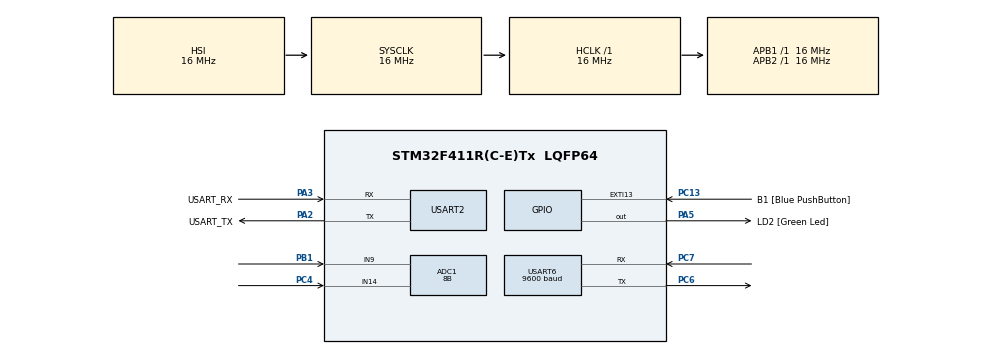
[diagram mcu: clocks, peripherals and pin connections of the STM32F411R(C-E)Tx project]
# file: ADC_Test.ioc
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ADC1.Channel-0\#ChannelRegularConversion=ADC_CHANNEL_9
ADC1.NbrOfConversion=1
ADC1.NbrOfConversionFlag=1
ADC1.Rank-0\#ChannelRegularConversion=1
ADC1.Resolution=ADC_RESOLUTION_8B
ADC1.SamplingTime-0\#ChannelRegularConversion=ADC_SAMPLETIME_15CYCLES
ADC1.ScanConvMode=ENABLE
ADC1.master=1
Mcu.Family=STM32F4
Mcu.Name=STM32F411R(C-E)Tx
Mcu.Package=LQFP64
NVIC.PriorityGroup=NVIC_PRIORITYGROUP_0
NVIC.USART6_IRQn=true\:0\:0\:false\:false\:true\:true\:true\:true
PA13.GPIO_Label=TMS
PA13.Mode=Serial_Wire
PA13.Signal=SYS_JTMS-SWDIO
PA14.GPIO_Label=TCK
PA14.Mode=Serial_Wire
PA14.Signal=SYS_JTCK-SWCLK
PA2.GPIO_Label=USART_TX
PA2.Mode=Asynchronous
PA2.Signal=USART2_TX
PA3.GPIO_Label=USART_RX
PA3.Mode=Asynchronous
PA3.Signal=USART2_RX
PA5.GPIO_Label=LD2 [Green Led]
PA5.Signal=GPIO_Output
PB1.Signal=ADCx_IN9
PB3.GPIO_Label=SWO
PB3.Signal=SYS_JTDO-SWO
PC13-ANTI_TAMP.GPIO_Label=B1 [Blue PushButton]
PC13-ANTI_TAMP.GPIO_ModeDefaultEXTI=GPIO_MODE_IT_FALLING
PC13-ANTI_TAMP.Signal=GPXTI13
PC14-OSC32_IN.Mode=LSE-External-Oscillator
PC14-OSC32_IN.Signal=RCC_OSC32_IN
PC15-OSC32_OUT.Mode=LSE-External-Oscillator
PC15-OSC32_OUT.Signal=RCC_OSC32_OUT
PC4.Signal=ADCx_IN14
PC6.Mode=Asynchronous
PC6.Signal=USART6_TX
PC7.Mode=Asynchronous
PC7.Signal=USART6_RX
PH0\ -\ OSC_IN.Mode=HSE-External-Clock-Source
PH0\ -\ OSC_IN.Signal=RCC_OSC_IN
PH1\ -\ OSC_OUT.Mode=HSE-External-Clock-Source
PH1\ -\ OSC_OUT.Signal=RCC_OSC_OUT
ProjectManager.HeapSize=0x200
ProjectManager.StackSize=0x400
ProjectManager.TargetToolchain=STM32CubeIDE
RCC.48MHZClocksFreq_Value=84000000
RCC.AHBFreq_Value=16000000
RCC.APB1Freq_Value=16000000
RCC.APB1TimFreq_Value=16000000
RCC.APB2Freq_Value=16000000
RCC.APB2TimFreq_Value=16000000
RCC.CortexFreq_Value=16000000
RCC.FLatency-AdvancedSettings=FLASH_LATENCY_0
RCC.HCLKFreq_Value=16000000
RCC.HSE_VALUE=8000000
RCC.HSI_VALUE=16000000
RCC.PLLN=336
RCC.PLLP=RCC_PLLP_DIV4
RCC.SYSCLKFreq_VALUE=16000000
RCC.VCOOutputFreq_Value=336000000
SH.ADCx_IN14.0=ADC1_IN14,IN14
SH.ADCx_IN9.0=ADC1_IN9,IN9
USART2.VirtualMode=VM_ASYNC
USART6.BaudRate=9600
USART6.VirtualMode=VM_ASYNC
board=NUCLEO-F411RE

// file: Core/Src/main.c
/* USER CODE BEGIN Header */
/**
  ******************************************************************************
  * @file           : main.c
  * @brief          : Main program body
  ******************************************************************************
  * @attention
  *
  * Copyright (c) 2022 STMicroelectronics.
  * All rights reserved.
  *
  * This software is licensed under terms that can be found in the LICENSE file
  * in the root directory of this software component.
  * If no LICENSE file comes with this software, it is provided AS-IS.
  *
  ******************************************************************************
  */
/* USER CODE END Header */
#include "main.h"

/* USER CODE BEGIN Includes */
#include <string.h>
#include <stdio.h>
/* USER CODE END Includes */

/* USER CODE BEGIN PD */
uint8_t msg_buffer[64] = {0}; // array for messages to Host Computer
/* USER CODE END PD */

ADC_HandleTypeDef hadc1;

UART_HandleTypeDef huart2;
UART_HandleTypeDef huart6;

void SystemClock_Config(void);
static void MX_GPIO_Init(void);
static void MX_USART2_UART_Init(void);
static void MX_ADC1_Init(void);
static void MX_USART6_UART_Init(void);
/* USER CODE BEGIN PFP */
static void ADC_Select_CH(int CH);
/* USER CODE END PFP */

/* USER CODE BEGIN 0 */
void ADC_Select_CH(int CH)
{
    ADC_ChannelConfTypeDef sConfig = {0};
    switch(CH)
    {
        case 0:
            sConfig.Channel = ADC_CHANNEL_0;
            sConfig.Rank = 1;
            if (HAL_ADC_ConfigChannel(&hadc1, &sConfig) != HAL_OK)
            {
                Error_Handler();
            }
            break;

        case 1:
            sConfig.Channel = ADC_CHANNEL_1;
            sConfig.Rank = 1;
            if (HAL_ADC_ConfigChannel(&hadc1, &sConfig) != HAL_OK)
            {
                Error_Handler();
            }
            break;
        case 2:
            sConfig.Channel = ADC_CHANNEL_2;
            sConfig.Rank = 1;
            if (HAL_ADC_ConfigChannel(&hadc1, &sConfig) != HAL_OK)
            {
                Error_Handler();
            }
            break;
        case 3:
            sConfig.Channel = ADC_CHANNEL_3;
            sConfig.Rank = 1;
            if (HAL_ADC_ConfigChannel(&hadc1, &sConfig) != HAL_OK)
            {
                Error_Handler();
            }
            break;
        case 4:
            sConfig.Channel = ADC_CHANNEL_4;
            sConfig.Rank = 1;
            if (HAL_ADC_ConfigChannel(&hadc1, &sConfig) != HAL_OK)
            {
                Error_Handler();
            }
            break;
        case 5:
            sConfig.Channel = ADC_CHANNEL_5;
            sConfig.Rank = 1;
            if (HAL_ADC_ConfigChannel(&hadc1, &sConfig) != HAL_OK)
            {
                Error_Handler();
            }
            break;
        case 6:
            sConfig.Channel = ADC_CHANNEL_6;
            sConfig.Rank = 1;
            if (HAL_ADC_ConfigChannel(&hadc1, &sConfig) != HAL_OK)
            {
                Error_Handler();
            }
            break;
        case 7:
            sConfig.Channel = ADC_CHANNEL_7;
            sConfig.Rank = 1;
            if (HAL_ADC_ConfigChannel(&hadc1, &sConfig) != HAL_OK)
            {
                Error_Handler();
            }
            break;
        case 8:
            sConfig.Channel = ADC_CHANNEL_8;
            sConfig.Rank = 1;
            if (HAL_ADC_ConfigChannel(&hadc1, &sConfig) != HAL_OK)
            {
                Error_Handler();
            }
            break;
        case 9:
            sConfig.Channel = ADC_CHANNEL_9;
            sConfig.Rank = 1;
            if (HAL_ADC_ConfigChannel(&hadc1, &sConfig) != HAL_OK)
            {
                Error_Handler();
            }
            break;
        case 10:
            sConfig.Channel = ADC_CHANNEL_10;
            sConfig.Rank = 1;
            if (HAL_ADC_ConfigChannel(&hadc1, &sConfig) != HAL_OK)
            {
                Error_Handler();
            }
            break;
        case 11:
            sConfig.Channel = ADC_CHANNEL_11;
            sConfig.Rank = 1;
            if (HAL_ADC_ConfigChannel(&hadc1, &sConfig) != HAL_OK)
            {
                Error_Handler();
            }
            break;
        case 12:
            sConfig.Channel = ADC_CHANNEL_12;
            sConfig.Rank = 1;
            if (HAL_ADC_ConfigChannel(&hadc1, &sConfig) != HAL_OK)
            {
                Error_Handler();
            }
            break;
        case 13:
            sConfig.Channel = ADC_CHANNEL_13;
            sConfig.Rank = 1;
            if (HAL_ADC_ConfigChannel(&hadc1, &sConfig) != HAL_OK)
            {
                Error_Handler();
            }
            break;
        case 14:
            sConfig.Channel = ADC_CHANNEL_14;
            sConfig.Rank = 1;
            if (HAL_ADC_ConfigChannel(&hadc1, &sConfig) != HAL_OK)
            {
                Error_Handler();
            }
            break;
        case 15:
            sConfig.Channel = ADC_CHANNEL_15;
            sConfig.Rank = 1;
            if (HAL_ADC_ConfigChannel(&hadc1, &sConfig) != HAL_OK)
            {
                Error_Handler();
            }
            break;
    }
}

/* USER CODE END 0 */

int main(void)
{

  /* MCU Configuration--------------------------------------------------------*/

  /* Reset of all peripherals, Initializes the Flash interface and the Systick. */
  HAL_Init();

  /* Configure the system clock */
  SystemClock_Config();

  /* Initialize all configured peripherals */
  MX_GPIO_Init();
  MX_USART2_UART_Init();
  MX_ADC1_Init();
  MX_USART6_UART_Init();

  /* Infinite loop */
  /* USER CODE BEGIN WHILE */
  while (1)
  {
	  ADC_Select_CH(9);
	  HAL_ADC_Start(&hadc1);
	  HAL_ADC_PollForConversion(&hadc1,1000);
	  uint8_t ADC_CH9 = HAL_ADC_GetValue(&hadc1);
	  sprintf((char*)msg_buffer, "\r\n Digitized Analog Value for Y: %d", ADC_CH9);
	  HAL_Delay(200);
	  HAL_UART_Transmit(&huart6, msg_buffer, strlen((char*)msg_buffer), 500);
	  HAL_ADC_Stop(&hadc1);

	  ADC_Select_CH(14);
	  HAL_ADC_Start(&hadc1);
	  HAL_ADC_PollForConversion(&hadc1,1000);
	  uint8_t ADC_CH14 = HAL_ADC_GetValue(&hadc1);
	  sprintf((char*)msg_buffer, "\r\n Digitized Analog Value for X: %d\n\n", ADC_CH14);
	  HAL_Delay(200);
	  HAL_UART_Transmit(&huart6, msg_buffer, strlen((char*)msg_buffer), 500);
	  HAL_ADC_Stop(&hadc1);

    /* USER CODE END WHILE */

  }
}

void SystemClock_Config(void)
{
  RCC_OscInitTypeDef RCC_OscInitStruct = {0};
  RCC_ClkInitTypeDef RCC_ClkInitStruct = {0};

  /** Configure the main internal regulator output voltage
  */
  __HAL_RCC_PWR_CLK_ENABLE();
  __HAL_PWR_VOLTAGESCALING_CONFIG(PWR_REGULATOR_VOLTAGE_SCALE1);

  /** Initializes the RCC Oscillators according to the specified parameters
  * in the RCC_OscInitTypeDef structure.
  */
  RCC_OscInitStruct.OscillatorType = RCC_OSCILLATORTYPE_HSI;
  RCC_OscInitStruct.HSIState = RCC_HSI_ON;
  RCC_OscInitStruct.HSICalibrationValue = RCC_HSICALIBRATION_DEFAULT;
  RCC_OscInitStruct.PLL.PLLState = RCC_PLL_NONE;
  if (HAL_RCC_OscConfig(&RCC_OscInitStruct) != HAL_OK)
  {
    Error_Handler();
  }

  /** Initializes the CPU, AHB and APB buses clocks
  */
  RCC_ClkInitStruct.ClockType = RCC_CLOCKTYPE_HCLK|RCC_CLOCKTYPE_SYSCLK
                              |RCC_CLOCKTYPE_PCLK1|RCC_CLOCKTYPE_PCLK2;
  RCC_ClkInitStruct.SYSCLKSource = RCC_SYSCLKSOURCE_HSI;
  RCC_ClkInitStruct.AHBCLKDivider = RCC_SYSCLK_DIV1;
  RCC_ClkInitStruct.APB1CLKDivider = RCC_HCLK_DIV1;
  RCC_ClkInitStruct.APB2CLKDivider = RCC_HCLK_DIV1;

  if (HAL_RCC_ClockConfig(&RCC_ClkInitStruct, FLASH_LATENCY_0) != HAL_OK)
  {
    Error_Handler();
  }
}

static void MX_ADC1_Init(void)
{

  ADC_ChannelConfTypeDef sConfig = {0};

  /** Configure the global features of the ADC (Clock, Resolution, Data Alignment and number of conversion)
  */
  hadc1.Instance = ADC1;
  hadc1.Init.ClockPrescaler = ADC_CLOCK_SYNC_PCLK_DIV2;
  hadc1.Init.Resolution = ADC_RESOLUTION_8B;
  hadc1.Init.ScanConvMode = ENABLE;
  hadc1.Init.ContinuousConvMode = DISABLE;
  hadc1.Init.DiscontinuousConvMode = DISABLE;
  hadc1.Init.ExternalTrigConvEdge = ADC_EXTERNALTRIGCONVEDGE_NONE;
  hadc1.Init.ExternalTrigConv = ADC_SOFTWARE_START;
  hadc1.Init.DataAlign = ADC_DATAALIGN_RIGHT;
  hadc1.Init.NbrOfConversion = 1;
  hadc1.Init.DMAContinuousRequests = DISABLE;
  hadc1.Init.EOCSelection = ADC_EOC_SINGLE_CONV;
  if (HAL_ADC_Init(&hadc1) != HAL_OK)
  {
    Error_Handler();
  }

  /** Configure for the selected ADC regular channel its corresponding rank in the sequencer and its sample time.
  */
  sConfig.Channel = ADC_CHANNEL_9;
  sConfig.Rank = 1;
  sConfig.SamplingTime = ADC_SAMPLETIME_15CYCLES;
  if (HAL_ADC_ConfigChannel(&hadc1, &sConfig) != HAL_OK)
  {
    Error_Handler();
  }

}

static void MX_USART2_UART_Init(void)
{

  huart2.Instance = USART2;
  huart2.Init.BaudRate = 115200;
  huart2.Init.WordLength = UART_WORDLENGTH_8B;
  huart2.Init.StopBits = UART_STOPBITS_1;
  huart2.Init.Parity = UART_PARITY_NONE;
  huart2.Init.Mode = UART_MODE_TX_RX;
  huart2.Init.HwFlowCtl = UART_HWCONTROL_NONE;
  huart2.Init.OverSampling = UART_OVERSAMPLING_16;
  if (HAL_UART_Init(&huart2) != HAL_OK)
  {
    Error_Handler();
  }

}

static void MX_USART6_UART_Init(void)
{

  huart6.Instance = USART6;
  huart6.Init.BaudRate = 9600;
  huart6.Init.WordLength = UART_WORDLENGTH_8B;
  huart6.Init.StopBits = UART_STOPBITS_1;
  huart6.Init.Parity = UART_PARITY_NONE;
  huart6.Init.Mode = UART_MODE_TX_RX;
  huart6.Init.HwFlowCtl = UART_HWCONTROL_NONE;
  huart6.Init.OverSampling = UART_OVERSAMPLING_16;
  if (HAL_UART_Init(&huart6) != HAL_OK)
  {
    Error_Handler();
  }

}

static void MX_GPIO_Init(void)
{
  GPIO_InitTypeDef GPIO_InitStruct = {0};

  /* GPIO Ports Clock Enable */
  __HAL_RCC_GPIOC_CLK_ENABLE();
  __HAL_RCC_GPIOH_CLK_ENABLE();
  __HAL_RCC_GPIOA_CLK_ENABLE();
  __HAL_RCC_GPIOB_CLK_ENABLE();

  /*Configure GPIO pin Output Level */
  HAL_GPIO_WritePin(LD2_GPIO_Port, LD2_Pin, GPIO_PIN_RESET);

  /*Configure GPIO pin : B1_Pin */
  GPIO_InitStruct.Pin = B1_Pin;
  GPIO_InitStruct.Mode = GPIO_MODE_IT_FALLING;
  GPIO_InitStruct.Pull = GPIO_NOPULL;
  HAL_GPIO_Init(B1_GPIO_Port, &GPIO_InitStruct);

  /*Configure GPIO pin : LD2_Pin */
  GPIO_InitStruct.Pin = LD2_Pin;
  GPIO_InitStruct.Mode = GPIO_MODE_OUTPUT_PP;
  GPIO_InitStruct.Pull = GPIO_NOPULL;
  GPIO_InitStruct.Speed = GPIO_SPEED_FREQ_LOW;
  HAL_GPIO_Init(LD2_GPIO_Port, &GPIO_InitStruct);

}

void Error_Handler(void)
{
  __disable_irq();
  while (1)
  {
  }
}
